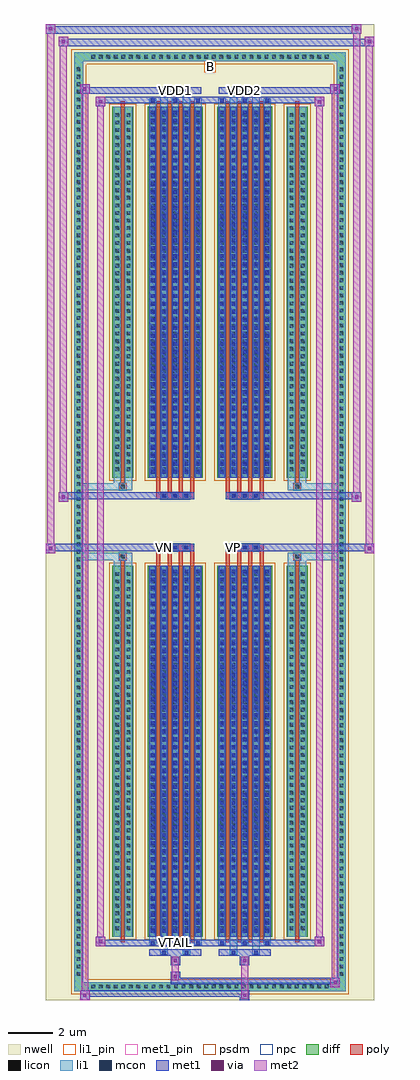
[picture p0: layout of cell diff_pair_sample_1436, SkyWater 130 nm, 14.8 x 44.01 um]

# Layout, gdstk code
import gdstk
lib = gdstk.Library(unit=1e-6, precision=5e-09)
def R(c, l, rs):  # rectangles x0, y0, x1, y1
    for r in rs: c.add(gdstk.rectangle(r[:2], r[2:], *l))
def A(c, l, x, y, w, h, nx, ny, dx, dy):  # array of equal rectangles
    R(c, l, [(x+i*dx, y+j*dy, x+i*dx+w, y+j*dy+h) for i in range(nx) for j in range(ny)])
def P(c, l, *ps):  # polygons
    for p in ps: c.add(gdstk.Polygon(p, *l))
nwell = (64, 20)
diff = (65, 20)
poly = (66, 20)
licon = (66, 44)
li1_pin = (67, 16)
li1 = (67, 20)
mcon = (67, 44)
met1_pin = (68, 16)
met1 = (68, 20)
via = (68, 44)
met2 = (69, 20)
psdm = (94, 20)
npc = (95, 20)

diff_pair_sample_1436 = lib.new_cell('diff_pair_sample_1436')
R(diff_pair_sample_1436, nwell, [(-7.4,-21.57,7.4,22.44), (-4.72,-19.76,-0.01,-0.8), (0.01,-19.76,4.72,-0.8), (-4.72,0.8,-0.01,19.76), (0.01,0.8,4.72,19.76)])
A(diff_pair_sample_1436, diff, -5.475, -21.17, 0.41, 0.41, 32, 2, 0.34, 41.93)
A(diff_pair_sample_1436, diff, -6.13, -20.605, 0.41, 0.41, 1, 121, 0, 0.34)
A(diff_pair_sample_1436, diff, 5.72, -20.605, 0.41, 0.41, 1, 121, 0, 0.34)
R(diff_pair_sample_1436, diff, [(-5.475,-21.17,5.475,-20.76), (-6.13,-20.605,-5.72,20.605), (5.72,-20.605,6.13,20.605), (-4.41,-18.715,-3.45,-1.985), (-2.81,-18.715,-0.32,-1.985), (0.32,-18.715,2.81,-1.985), (3.45,-18.715,4.41,-1.985), (-4.41,1.985,-3.45,18.715), (-2.81,1.985,-0.32,18.715), (0.32,1.985,2.81,18.715), (3.45,1.985,4.41,18.715), (-5.475,20.76,5.475,21.17)])
P(diff_pair_sample_1436, diff, [(6.13,21.17),(-6.13,21.17),(-6.13,-20.76),(-5.72,-20.76),(-5.72,20.76),(5.72,20.76),(5.72,-20.76),(-5.72,-20.76),(-6.13,-20.76),(-6.13,-21.17),(6.13,-21.17)])
A(diff_pair_sample_1436, poly, -2.42, -18.965, 0.18, 17.23, 4, 2, 0.51, 20.7)
A(diff_pair_sample_1436, poly, 0.71, -18.965, 0.18, 17.23, 4, 2, 0.51, 20.7)
A(diff_pair_sample_1436, poly, -2.42, -1.735, 0.18, 0.405, 4, 2, 0.51, 3.065)
A(diff_pair_sample_1436, poly, 0.71, -1.735, 0.18, 0.405, 4, 2, 0.51, 3.065)
A(diff_pair_sample_1436, poly, -2.23, -1.33, 0.33, 0.33, 3, 2, 0.5, 2.33)
A(diff_pair_sample_1436, poly, 0.9, -1.33, 0.33, 0.33, 3, 2, 0.5, 2.33)
R(diff_pair_sample_1436, poly, [(-4.02,-18.965,-3.84,-1.735), (3.84,-18.965,4.02,-1.735), (-4.095,-1.735,-3.765,-1.405), (-4.095,-1.735,-3.765,-1.405), (3.765,-1.735,4.095,-1.405), (3.765,-1.735,4.095,-1.405), (-2.42,-1.33,-0.71,-1), (0.71,-1.33,2.42,-1), (-2.42,1,-0.71,1.33), (0.71,1,2.42,1.33), (-4.095,1.405,-3.765,1.735), (-4.095,1.405,-3.765,1.735), (3.765,1.405,4.095,1.735), (3.765,1.405,4.095,1.735), (-4.02,1.735,-3.84,18.965), (3.84,1.735,4.02,18.965)])
A(diff_pair_sample_1436, licon, -5.355, -21.05, 0.17, 0.17, 32, 2, 0.34, 41.93)
A(diff_pair_sample_1436, licon, -6.01, -20.485, 0.17, 0.17, 1, 121, 0, 0.34)
A(diff_pair_sample_1436, licon, 5.84, -20.485, 0.17, 0.17, 1, 121, 0, 0.34)
A(diff_pair_sample_1436, licon, -4.27, -18.425, 0.17, 0.17, 1, 48, 0, 0.34)
A(diff_pair_sample_1436, licon, -3.76, -18.425, 0.17, 0.17, 1, 48, 0, 0.34)
A(diff_pair_sample_1436, licon, -2.67, -18.425, 0.17, 0.17, 5, 48, 0.51, 0.34)
A(diff_pair_sample_1436, licon, 0.46, -18.425, 0.17, 0.17, 5, 48, 0.51, 0.34)
A(diff_pair_sample_1436, licon, 3.59, -18.425, 0.17, 0.17, 1, 48, 0, 0.34)
A(diff_pair_sample_1436, licon, 4.1, -18.425, 0.17, 0.17, 1, 48, 0, 0.34)
A(diff_pair_sample_1436, licon, -2.15, -1.25, 0.17, 0.17, 3, 2, 0.5, 2.33)
A(diff_pair_sample_1436, licon, 0.98, -1.25, 0.17, 0.17, 3, 2, 0.5, 2.33)
A(diff_pair_sample_1436, licon, -4.27, 2.275, 0.17, 0.17, 1, 48, 0, 0.34)
A(diff_pair_sample_1436, licon, -3.76, 2.275, 0.17, 0.17, 1, 48, 0, 0.34)
A(diff_pair_sample_1436, licon, -2.67, 2.275, 0.17, 0.17, 5, 48, 0.51, 0.34)
A(diff_pair_sample_1436, licon, 0.46, 2.275, 0.17, 0.17, 5, 48, 0.51, 0.34)
A(diff_pair_sample_1436, licon, 3.59, 2.275, 0.17, 0.17, 1, 48, 0, 0.34)
A(diff_pair_sample_1436, licon, 4.1, 2.275, 0.17, 0.17, 1, 48, 0, 0.34)
R(diff_pair_sample_1436, licon, [(-4.015,-1.655,-3.845,-1.485), (3.845,-1.655,4.015,-1.485), (-4.015,1.485,-3.845,1.655), (3.845,1.485,4.015,1.655)])
R(diff_pair_sample_1436, li1_pin, [(-0.25,20.26,0.25,20.76)])
A(diff_pair_sample_1436, li1, -5.435, -21.13, 0.33, 0.33, 32, 2, 0.34, 41.93)
A(diff_pair_sample_1436, li1, -6.09, -20.565, 0.33, 0.33, 1, 121, 0, 0.34)
A(diff_pair_sample_1436, li1, 5.76, -20.565, 0.33, 0.33, 1, 121, 0, 0.34)
A(diff_pair_sample_1436, li1, -2.75, -19.09, 0.33, 0.375, 3, 2, 1.02, 37.805)
A(diff_pair_sample_1436, li1, -2.67, -19.09, 0.17, 0.17, 3, 2, 1.02, 38.01)
A(diff_pair_sample_1436, li1, 0.38, -19.09, 0.33, 0.375, 3, 2, 1.02, 37.805)
A(diff_pair_sample_1436, li1, 0.46, -19.09, 0.17, 0.17, 3, 2, 1.02, 38.01)
A(diff_pair_sample_1436, li1, -2.75, -18.715, 0.33, 16.73, 5, 2, 0.51, 20.7)
A(diff_pair_sample_1436, li1, 0.38, -18.715, 0.33, 16.73, 5, 2, 0.51, 20.7)
A(diff_pair_sample_1436, li1, -2.67, -18.535, 0.17, 0.17, 5, 46, 0.51, 0.36)
A(diff_pair_sample_1436, li1, -2.67, -18.535, 0.17, 16.37, 5, 2, 0.51, 20.7)
A(diff_pair_sample_1436, li1, 0.46, -18.535, 0.17, 0.17, 5, 46, 0.51, 0.36)
A(diff_pair_sample_1436, li1, 0.46, -18.535, 0.17, 16.37, 5, 2, 0.51, 20.7)
A(diff_pair_sample_1436, li1, -4.35, -18.505, 0.33, 0.33, 1, 48, 0, 0.34)
A(diff_pair_sample_1436, li1, -3.84, -18.505, 0.33, 0.33, 1, 48, 0, 0.34)
A(diff_pair_sample_1436, li1, -2.75, -18.505, 0.33, 0.33, 5, 48, 0.51, 0.34)
A(diff_pair_sample_1436, li1, 0.38, -18.505, 0.33, 0.33, 5, 48, 0.51, 0.34)
A(diff_pair_sample_1436, li1, 3.51, -18.505, 0.33, 0.33, 1, 48, 0, 0.34)
A(diff_pair_sample_1436, li1, 4.02, -18.505, 0.33, 0.33, 1, 48, 0, 0.34)
A(diff_pair_sample_1436, li1, -2.23, -1.33, 0.33, 0.33, 3, 2, 0.5, 2.33)
A(diff_pair_sample_1436, li1, 0.9, -1.33, 0.33, 0.33, 3, 2, 0.5, 2.33)
A(diff_pair_sample_1436, li1, -2.67, 2.165, 0.17, 0.17, 5, 46, 0.51, 0.36)
A(diff_pair_sample_1436, li1, 0.46, 2.165, 0.17, 0.17, 5, 46, 0.51, 0.36)
A(diff_pair_sample_1436, li1, -4.35, 2.195, 0.33, 0.33, 1, 48, 0, 0.34)
A(diff_pair_sample_1436, li1, -3.84, 2.195, 0.33, 0.33, 1, 48, 0, 0.34)
A(diff_pair_sample_1436, li1, -2.75, 2.195, 0.33, 0.33, 5, 48, 0.51, 0.34)
A(diff_pair_sample_1436, li1, 0.38, 2.195, 0.33, 0.33, 5, 48, 0.51, 0.34)
A(diff_pair_sample_1436, li1, 3.51, 2.195, 0.33, 0.33, 1, 48, 0, 0.34)
A(diff_pair_sample_1436, li1, 4.02, 2.195, 0.33, 0.33, 1, 48, 0, 0.34)
R(diff_pair_sample_1436, li1, [(-6.13,-21.17,-5.72,-20.76), (-6.13,-21.17,-5.72,-20.76), (-5.72,-21.17,5.72,-20.76), (5.72,-21.17,6.13,-20.76), (5.72,-21.17,6.13,-20.76), (-6.13,-20.76,-5.72,20.76), (5.72,-20.76,6.13,20.76), (-2.24,-19.52,-1.91,-18.715), (-2.16,-19.52,-1.99,-19.35), (-1.22,-19.52,-0.89,-18.715), (-1.14,-19.52,-0.97,-19.35), (0.89,-19.52,1.22,-18.715), (0.97,-19.52,1.14,-19.35), (1.91,-19.52,2.24,-18.715), (1.99,-19.52,2.16,-19.35), (-4.35,-18.715,-4.02,-1.985), (-3.84,-18.715,-3.51,-1.985), (3.51,-18.715,3.84,-1.985), (4.02,-18.715,4.35,-1.985), (-4.35,-1.985,-4.02,-1.405), (-3.84,-1.985,-3.51,-1.405), (3.51,-1.985,3.84,-1.405), (4.02,-1.985,4.35,-1.405), (-6.13,-1.735,-4.095,-1.405), (-4.35,-1.735,-4.095,-1.405), (-4.095,-1.735,-3.765,-1.405), (-3.765,-1.735,-3.51,-1.405), (3.51,-1.735,3.765,-1.405), (3.765,-1.735,4.095,-1.405), (3.765,-1.735,6.13,-1.405), (4.095,-1.735,4.35,-1.405), (-6.13,1.405,-4.095,1.735), (-4.35,1.405,-4.095,1.735), (-4.35,1.405,-4.02,1.985), (-4.095,1.405,-3.765,1.735), (-3.84,1.405,-3.51,1.985), (-3.765,1.405,-3.51,1.735), (3.51,1.405,3.765,1.735), (3.51,1.405,3.84,1.985), (3.765,1.405,4.095,1.735), (3.765,1.405,6.13,1.735), (4.02,1.405,4.35,1.985), (4.095,1.405,4.35,1.735), (-4.35,1.985,-4.02,18.715), (-3.84,1.985,-3.51,18.715), (3.51,1.985,3.84,18.715), (4.02,1.985,4.35,18.715), (-2.24,18.715,-1.91,19.52), (-1.22,18.715,-0.89,19.52), (0.89,18.715,1.22,19.52), (1.91,18.715,2.24,19.52), (-2.16,19.35,-1.99,19.52), (-1.14,19.35,-0.97,19.52), (0.97,19.35,1.14,19.52), (1.99,19.35,2.16,19.52), (-6.13,20.76,-5.72,21.17), (-6.13,20.76,-5.72,21.17), (-5.72,20.76,5.72,21.17), (5.72,20.76,6.13,21.17), (5.72,20.76,6.13,21.17)])
A(diff_pair_sample_1436, mcon, -2.67, -19.09, 0.17, 0.17, 3, 2, 1.02, 38.01)
A(diff_pair_sample_1436, mcon, 0.46, -19.09, 0.17, 0.17, 3, 2, 1.02, 38.01)
A(diff_pair_sample_1436, mcon, -2.67, -18.535, 0.17, 0.17, 5, 46, 0.51, 0.36)
A(diff_pair_sample_1436, mcon, 0.46, -18.535, 0.17, 0.17, 5, 46, 0.51, 0.36)
A(diff_pair_sample_1436, mcon, -2.15, -1.25, 0.17, 0.17, 3, 2, 0.5, 2.33)
A(diff_pair_sample_1436, mcon, 0.98, -1.25, 0.17, 0.17, 3, 2, 0.5, 2.33)
A(diff_pair_sample_1436, mcon, -2.67, 2.165, 0.17, 0.17, 5, 46, 0.51, 0.36)
A(diff_pair_sample_1436, mcon, 0.46, 2.165, 0.17, 0.17, 5, 46, 0.51, 0.36)
R(diff_pair_sample_1436, mcon, [(-2.16,-19.52,-1.99,-19.35), (-1.14,-19.52,-0.97,-19.35), (0.97,-19.52,1.14,-19.35), (1.99,-19.52,2.16,-19.35), (-2.16,19.35,-1.99,19.52), (-1.14,19.35,-0.97,19.52), (0.97,19.35,1.14,19.52), (1.99,19.35,2.16,19.52)])
R(diff_pair_sample_1436, met1_pin, [(-1.7,-19.13,-1.43,-18.86), (-2.2,-1.29,-1.93,-1.02), (0.93,-1.29,1.2,-1.02), (-1.7,19.31,-1.43,19.58), (1.43,19.31,1.7,19.58)])
A(diff_pair_sample_1436, met1, -2.73, -19.15, 0.29, 0.29, 3, 2, 1.02, 38.01)
A(diff_pair_sample_1436, met1, 0.4, -19.15, 0.29, 0.29, 3, 2, 1.02, 38.01)
A(diff_pair_sample_1436, met1, -2.73, -18.715, 0.29, 16.73, 5, 2, 0.51, 20.7)
A(diff_pair_sample_1436, met1, 0.4, -18.715, 0.29, 16.73, 5, 2, 0.51, 20.7)
A(diff_pair_sample_1436, met1, -2.73, -18.595, 0.29, 0.29, 5, 46, 0.51, 0.36)
A(diff_pair_sample_1436, met1, 0.4, -18.595, 0.29, 0.29, 5, 46, 0.51, 0.36)
A(diff_pair_sample_1436, met1, -2.21, -1.31, 0.29, 0.29, 3, 2, 0.5, 2.33)
A(diff_pair_sample_1436, met1, 0.92, -1.31, 0.29, 0.29, 3, 2, 0.5, 2.33)
A(diff_pair_sample_1436, met1, -2.73, 2.105, 0.29, 0.29, 5, 46, 0.51, 0.36)
A(diff_pair_sample_1436, met1, 0.4, 2.105, 0.29, 0.29, 5, 46, 0.51, 0.36)
R(diff_pair_sample_1436, met1, [(-5.86,-21.57,-5.43,-21.14), (1.35,-21.57,1.78,-21.14), (-5.86,-21.43,1.78,-21.14), (5.43,-21,5.86,-20.57), (-1.78,-20.86,5.86,-20.57), (-1.78,-20.72,-1.35,-20.29), (-1.78,-20.01,-1.35,-19.58), (1.35,-20.01,1.78,-19.58), (-2.73,-19.58,-0.4,-19.29), (-2.22,-19.58,-1.93,-19.29), (-1.2,-19.58,-0.91,-19.29), (0.4,-19.58,2.73,-19.29), (0.91,-19.58,1.2,-19.29), (1.93,-19.58,2.22,-19.29), (-5.15,-19.15,-4.72,-18.72), (-5.15,-19.15,-2.73,-18.86), (-2.73,-19.15,-0.4,-18.86), (-0.4,-19.15,0.4,-18.86), (0.4,-19.15,2.73,-18.86), (2.73,-19.15,5.15,-18.86), (4.72,-19.15,5.15,-18.72), (-7.4,-1.43,-6.97,-1), (6.97,-1.43,7.4,-1), (-7.4,-1.33,-0.71,-1), (-2.42,-1.33,-0.71,-1), (0.71,-1.33,2.42,-1), (0.71,-1.33,7.4,-1), (-6.83,0.9,-6.4,1.33), (6.4,0.9,6.83,1.33), (-6.83,1,-2.42,1.33), (-2.42,1,-0.71,1.33), (0.71,1,2.42,1.33), (2.42,1,6.83,1.33), (-5.15,18.72,-4.72,19.15), (4.72,18.72,5.15,19.15), (-5.15,18.86,-2.73,19.15), (-2.73,18.86,-0.4,19.15), (-0.4,18.86,0.4,19.15), (0.4,18.86,2.73,19.15), (2.73,18.86,5.15,19.15), (-5.86,19.29,-5.43,19.72), (-5.86,19.29,-2.73,19.58), (-2.73,19.29,-0.4,19.58), (-2.22,19.29,-1.93,19.58), (-1.2,19.29,-0.91,19.58), (0.4,19.29,2.73,19.58), (0.91,19.29,1.2,19.58), (1.93,19.29,2.22,19.58), (2.73,19.29,5.86,19.58), (5.43,19.29,5.86,19.72), (-6.83,21.44,-6.4,21.87), (-6.83,21.44,-4.72,21.77), (-4.72,21.44,4.72,21.77), (4.72,21.44,7.4,21.77), (6.97,21.44,7.4,21.87), (-7.4,22.01,-6.97,22.44), (-7.4,22.01,-4.72,22.34), (-4.72,22.01,4.72,22.34), (4.72,22.01,6.83,22.34), (6.4,22.01,6.83,22.44)])
R(diff_pair_sample_1436, via, [(-5.72,-21.43,-5.57,-21.28), (1.49,-21.43,1.64,-21.28), (5.57,-20.86,5.72,-20.71), (-1.64,-20.58,-1.49,-20.43), (-1.64,-19.87,-1.49,-19.72), (1.49,-19.87,1.64,-19.72), (-5.01,-19.01,-4.86,-18.86), (4.86,-19.01,5.01,-18.86), (-7.26,-1.29,-7.11,-1.14), (7.11,-1.29,7.26,-1.14), (-6.69,1.04,-6.54,1.19), (6.54,1.04,6.69,1.19), (-5.01,18.86,-4.86,19.01), (4.86,18.86,5.01,19.01), (-5.72,19.43,-5.57,19.58), (5.57,19.43,5.72,19.58), (-6.69,21.58,-6.54,21.73), (7.11,21.58,7.26,21.73), (-7.26,22.15,-7.11,22.3), (6.54,22.15,6.69,22.3)])
R(diff_pair_sample_1436, met2, [(-5.86,-21.57,-5.43,-21.14), (-5.79,-21.57,-5.5,19.72), (-5.5,-21.57,-5.43,-21.14), (-5.81,-21.52,-5.48,-21.19), (1.4,-21.52,1.73,-21.19), (1.4,-21.19,1.73,-19.96), (5.43,-21,5.86,-20.57), (5.5,-21,5.79,19.72), (5.79,-21,5.86,-20.57), (5.48,-20.95,5.81,-20.62), (-1.73,-20.67,-1.4,-20.34), (-1.73,-20.34,-1.4,-19.96), (-1.73,-19.96,-1.4,-19.63), (1.4,-19.96,1.73,-19.63), (-5.15,-19.15,-4.72,-18.72), (-5.08,-19.15,-4.79,19.15), (-4.79,-19.15,-4.72,-18.72), (4.72,-19.15,5.15,-18.72), (4.79,-19.15,5.08,19.15), (5.08,-19.15,5.15,-18.72), (-5.1,-19.1,-4.77,-18.77), (4.77,-19.1,5.1,-18.77), (-7.4,-1.43,-6.97,-1), (-7.35,-1.43,-7.02,22.44), (-7.02,-1.43,-6.97,-1), (6.97,-1.43,7.4,-1), (7.02,-1.43,7.35,21.87), (7.35,-1.43,7.4,-1), (-7.35,-1.38,-7.02,-1.05), (7.02,-1.38,7.35,-1.05), (-6.83,0.9,-6.4,1.33), (-6.78,0.9,-6.45,21.87), (-6.45,0.9,-6.4,1.33), (6.4,0.9,6.83,1.33), (6.45,0.9,6.78,22.44), (6.78,0.9,6.83,1.33), (-6.78,0.95,-6.45,1.28), (6.45,0.95,6.78,1.28), (-5.15,18.72,-4.72,19.15), (-4.79,18.72,-4.72,19.15), (4.72,18.72,5.15,19.15), (5.08,18.72,5.15,19.15), (-5.1,18.77,-4.77,19.1), (4.77,18.77,5.1,19.1), (-5.86,19.29,-5.43,19.72), (-5.5,19.29,-5.43,19.72), (5.43,19.29,5.86,19.72), (5.79,19.29,5.86,19.72), (-5.81,19.34,-5.48,19.67), (5.48,19.34,5.81,19.67), (-6.83,21.44,-6.4,21.87), (-6.45,21.44,-6.4,21.87), (6.97,21.44,7.4,21.87), (7.35,21.44,7.4,21.87), (-6.78,21.49,-6.45,21.82), (7.02,21.49,7.35,21.82), (-7.4,22.01,-6.97,22.44), (-7.02,22.01,-6.97,22.44), (6.4,22.01,6.83,22.44), (6.78,22.01,6.83,22.44), (-7.35,22.06,-7.02,22.39), (6.45,22.06,6.78,22.39)])
R(diff_pair_sample_1436, psdm, [(-4.54,-18.845,-3.32,-1.855), (-2.94,-18.845,-0.19,-1.855), (0.19,-18.845,2.94,-1.855), (3.32,-18.845,4.54,-1.855), (-4.54,1.855,-3.32,18.845), (-2.94,1.855,-0.19,18.845), (0.19,1.855,2.94,18.845), (3.32,1.855,4.54,18.845)])
P(diff_pair_sample_1436, psdm, [(6.26,21.3),(-6.26,21.3),(-6.26,-20.63),(-5.59,-20.63),(-5.59,20.63),(5.59,20.63),(5.59,-20.63),(-5.59,-20.63),(-6.26,-20.63),(-6.26,-21.3),(6.26,-21.3)])
A(diff_pair_sample_1436, npc, -2.25, -1.35, 0.37, 0.37, 3, 2, 0.5, 2.33)
A(diff_pair_sample_1436, npc, 0.88, -1.35, 0.37, 0.37, 3, 2, 0.5, 2.33)
R(diff_pair_sample_1436, npc, [(-4.115,-1.755,-3.745,-1.385), (3.745,-1.755,4.115,-1.385), (-2.25,-1.35,-1.38,-0.98), (-2.25,-1.35,-1.38,-0.98), (-1.75,-1.35,-0.88,-0.98), (-1.75,-1.35,-0.88,-0.98), (0.88,-1.35,1.75,-0.98), (0.88,-1.35,1.75,-0.98), (1.38,-1.35,2.25,-0.98), (1.38,-1.35,2.25,-0.98), (-2.25,0.98,-1.38,1.35), (-2.25,0.98,-1.38,1.35), (-1.75,0.98,-0.88,1.35), (-1.75,0.98,-0.88,1.35), (0.88,0.98,1.75,1.35), (0.88,0.98,1.75,1.35), (1.38,0.98,2.25,1.35), (1.38,0.98,2.25,1.35), (-4.115,1.385,-3.745,1.755), (3.745,1.385,4.115,1.755)])
diff_pair_sample_1436.add(gdstk.Label('VTAIL', (-1.565,-18.995), layer=68, texttype=5))
diff_pair_sample_1436.add(gdstk.Label('VN', (-2.065,-1.155), layer=68, texttype=5))
diff_pair_sample_1436.add(gdstk.Label('VP', (1.065,-1.155), layer=68, texttype=5))
diff_pair_sample_1436.add(gdstk.Label('B', (0,20.51), layer=67, texttype=5))
diff_pair_sample_1436.add(gdstk.Label('VDD2', (1.565,19.445), layer=68, texttype=5))
diff_pair_sample_1436.add(gdstk.Label('VDD1', (-1.565,19.445), layer=68, texttype=5))

lib.write_gds('diff_pair_sample_1436.gds')
